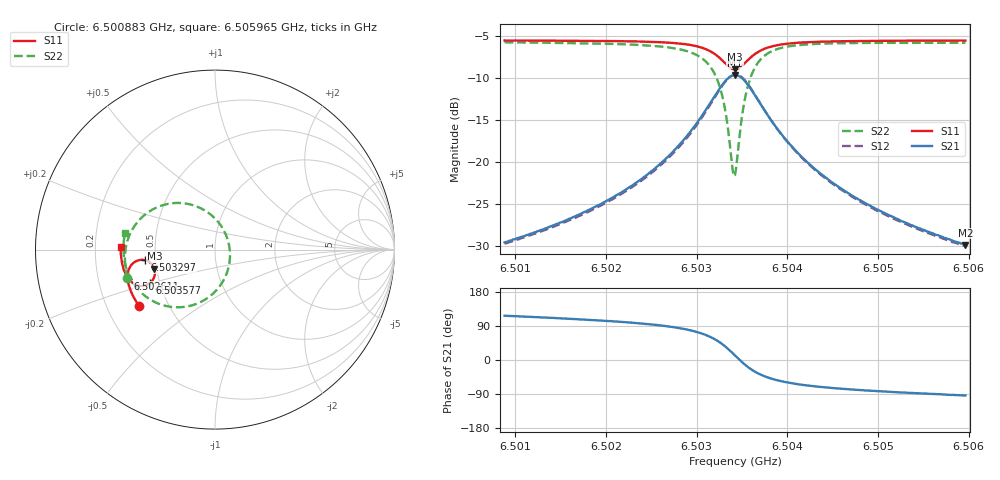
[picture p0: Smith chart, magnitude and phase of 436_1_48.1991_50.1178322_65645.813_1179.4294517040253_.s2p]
#  HZ  S  RI  R  50.00
! Rohde & Schwarz Vector Network Analyzer
! Rohde-Schwarz,ZNB20-2Port,1311601062101988,3.16
! Created: UTC 3/20/2024, 11:55:38 AM
! freq[Hz]  re:S11  im:S11  re:S21  im:S21  re:S12  im:S12  re:S22  im:S22
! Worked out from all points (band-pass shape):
!   401 points, 6.500883 GHz to 6.505965 GHz, reference 50 ohm
!   highest |S21| = -9.68 dB at 6.503424 GHz (marker M1); lowest = -29.9 dB at 6.505965 GHz (marker M2)
!   |S21| within 3 dB of the highest: 6.503171 GHz to 6.503679 GHz (507.7 kHz wide, 0.00781 % of centre)
!   lowest |S11| = -9.0 dB at 6.503424 GHz (marker M3), VSWR 2.10, Z = 24.3 - j5.95 ohm
!   |S11| at or under -10 dB: nowhere
!   |S22| runs from -21.7 to -5.8 dB; largest |S21 - S12| = 0.012
!   S11 on the Smith chart (normalised r, x): 6.500883 GHz: 0.34, -0.29; 6.502611 GHz: 0.33, -0.15; 6.503297 GHz: 0.44, -0.06; 6.503577 GHz: 0.44, -0.20; 6.505965 GHz: 0.31, +0.01
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6.5008834e9  -0.4234 -0.3128  -0.015 0.0295  -0.0133 0.0297  -0.4876 -0.161
6.5017346e9  -0.4603 -0.2504  -0.0145 0.0471  -0.012 0.0467  -0.5018 -0.0716
6.502192e9  -0.4768 -0.2104  -0.0117 0.0656  -0.00862 0.0647  -0.4996 -0.00771
6.5025858e9  -0.4864 -0.1675  -0.00278 0.0956  0.001 0.0933  -0.4807 0.0694
6.5026112e9  -0.4867 -0.1641  -0.0017 0.0982  0.00209 0.0959  -0.4782 0.0756
6.5029034e9  -0.4834 -0.1196  0.0252 0.1419  0.0291 0.1375  -0.4224 0.1644
6.503094e9  -0.4623 -0.0814  0.0787 0.1838  0.0813 0.1777  -0.3203 0.2369
6.5032083e9  -0.4301 -0.0608  0.1471 0.2017  0.1481 0.1953  -0.1971 0.2598
6.5032973e9  -0.3899 -0.0588  0.2262 0.1861  0.2266 0.1808  -0.0608 0.2206
6.5033354e9  -0.3707 -0.0662  0.2625 0.1634  0.2634 0.1585  -0.000778 0.1745
6.5033989e9  -0.3439 -0.0927  0.3103 0.0999  0.3129 0.0949  0.0716 0.0524
6.5034243e9  -0.3375 -0.1071  0.3208 0.0679  0.324 0.0619  0.0828 -0.0071
6.5034497e9  -0.3345 -0.1228  0.3245 0.0342  0.3279 0.0272  0.0813 -0.0683
6.5035132e9  -0.3415 -0.16  0.3068 -0.0436  0.3089 -0.0536  0.0267 -0.2035
6.5035768e9  -0.3625 -0.1858  0.2642 -0.0976  0.2631 -0.1092  -0.0693 -0.2866
6.5036784e9  -0.4019 -0.2012  0.1896 -0.1341  0.1844 -0.1437  -0.219 -0.3215
6.5038436e9  -0.448 -0.1917  0.1081 -0.1312  0.1012 -0.1363  -0.366 -0.2753
6.5040214e9  -0.4754 -0.1703  0.0638 -0.1114  0.0575 -0.1137  -0.438 -0.2106
6.5042755e9  -0.4962 -0.1403  0.0338 -0.0872  0.0292 -0.0877  -0.4812 -0.1388
6.5046948e9  -0.5128 -0.0971  0.0138 -0.0624  0.0106 -0.062  -0.5048 -0.0579
6.5051267e9  -0.5212 -0.0574  0.00502 -0.0476  0.00283 -0.0469  -0.5099 0.00177
6.5059652e9  -0.5259 0.0134  -0.0021 -0.0319  -0.00337 -0.0312  -0.5021 0.0898
